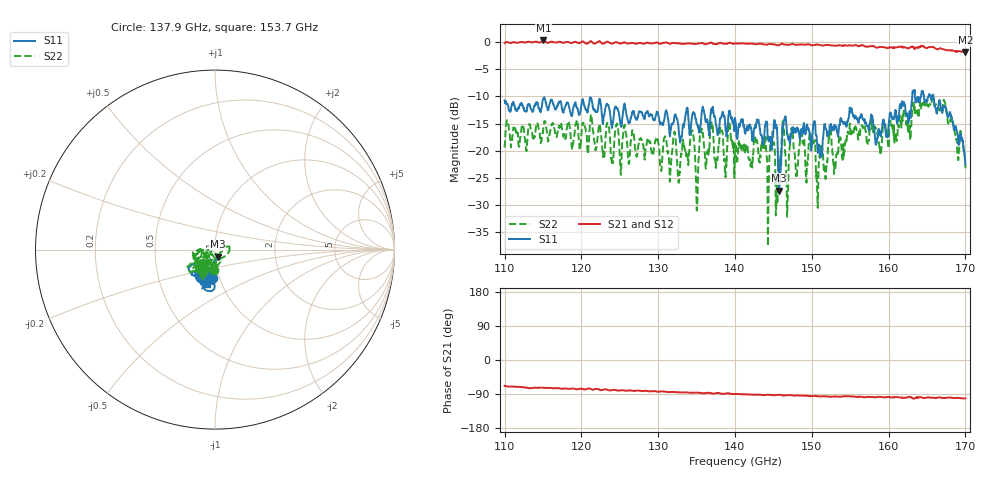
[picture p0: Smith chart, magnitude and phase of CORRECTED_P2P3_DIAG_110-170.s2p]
! Generated by Phase II Calibration
# Hz S RI R 50
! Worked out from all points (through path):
!   1471 points, 110 GHz to 170 GHz, reference 50 ohm
!   highest |S21| = 0.32 dB at 115.1 GHz (marker M1); lowest = -1.9 dB at 170 GHz (marker M2)
!   group delay of S21, straight-line fit = 1.48 ps
!   lowest |S11| = -27.3 dB at 145.8 GHz (marker M3), VSWR 1.09, Z = 51.4 - j4.14 ohm
!   |S11| at or under -10 dB: start of sweep to 163.1 GHz; 163.4235 GHz to 164.2154 GHz (791.9 MHz wide, 0.483 % of centre); 165.8 GHz to end of sweep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
!   |S22| runs from -37.6 to -10.5 dB; largest |S21 - S12| = 0.021
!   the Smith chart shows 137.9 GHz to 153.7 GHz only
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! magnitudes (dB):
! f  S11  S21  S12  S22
! 110 GHz  -10.7  -0.2  0.0  -19.4
! 115.1 GHz  -10.3  0.3  0.4  -15.5
! 120 GHz  -11.6  0.1  0.1  -17.2
! 130 GHz  -13.4  -0.2  -0.2  -18.4
! 134.4 GHz  -13.3  -0.3  -0.3  -16.2
! 135 GHz  -15.0  -0.3  -0.3  -31.0
! 135.6 GHz  -13.4  -0.1  -0.1  -16.0
! 140 GHz  -13.9  -0.2  -0.2  -18.7
! 144.3 GHz  -17.7  -0.4  -0.4  -32.1
! 144.9 GHz  -17.5  -0.3  -0.4  -16.7
! 145.2 GHz  -14.7  -0.4  -0.5  -22.1
! 145.8 GHz  -27.3  -0.5  -0.5  -21.8
! 146.4 GHz  -14.1  -0.4  -0.5  -18.2
! 146.8 GHz  -16.9  -0.4  -0.5  -30.4
! 147.3 GHz  -16.7  -0.3  -0.3  -16.0
! 148 GHz  -15.8  -0.5  -0.6  -24.2
! 150 GHz  -19.2  -0.6  -0.6  -18.7
! 150.8 GHz  -20.4  -0.4  -0.4  -30.5
! 152.4 GHz  -15.4  -0.5  -0.6  -16.0
! 160 GHz  -15.4  -1.1  -1.1  -19.4
! 167.2 GHz  -11.8  -1.3  -1.3  -10.6
! 170 GHz  -22.5  -1.9  -1.9  -23.2
